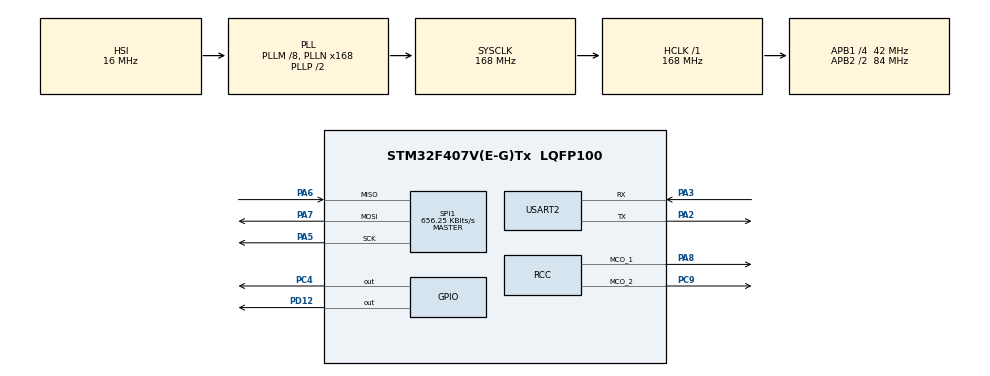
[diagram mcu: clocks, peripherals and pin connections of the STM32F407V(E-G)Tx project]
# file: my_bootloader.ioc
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FATFS._USE_LFN=1
Mcu.Family=STM32F4
Mcu.Name=STM32F407V(E-G)Tx
Mcu.Package=LQFP100
NVIC.PriorityGroup=NVIC_PRIORITYGROUP_0
NVIC.SPI1_IRQn=true\:0\:0\:false\:false\:true\:true\:true\:true
NVIC.USART2_IRQn=true\:0\:0\:false\:false\:true\:true\:true\:true
PA2.Mode=Asynchronous
PA2.Signal=USART2_TX
PA3.Mode=Asynchronous
PA3.Signal=USART2_RX
PA5.GPIO_PuPd=GPIO_PULLUP
PA5.Mode=Full_Duplex_Master
PA5.Signal=SPI1_SCK
PA6.GPIO_PuPd=GPIO_PULLUP
PA6.Mode=Full_Duplex_Master
PA6.Signal=SPI1_MISO
PA7.GPIO_PuPd=GPIO_PULLUP
PA7.Mode=Full_Duplex_Master
PA7.Signal=SPI1_MOSI
PA8.Mode=Clock-out-1
PA8.Signal=RCC_MCO_1
PC14-OSC32_IN.Mode=LSE-External-Oscillator
PC14-OSC32_IN.Signal=RCC_OSC32_IN
PC15-OSC32_OUT.Mode=LSE-External-Oscillator
PC15-OSC32_OUT.Signal=RCC_OSC32_OUT
PC4.GPIO_PuPd=GPIO_NOPULL
PC4.GPIO_Speed=GPIO_SPEED_FREQ_LOW
PC4.PinState=GPIO_PIN_RESET
PC4.Signal=GPIO_Output
PC9.Mode=Clock-out-2
PC9.Signal=RCC_MCO_2
PD12.Signal=GPIO_Output
PH0-OSC_IN.Mode=HSE-External-Oscillator
PH0-OSC_IN.Signal=RCC_OSC_IN
PH1-OSC_OUT.Mode=HSE-External-Oscillator
PH1-OSC_OUT.Signal=RCC_OSC_OUT
ProjectManager.HeapSize=0x200
ProjectManager.StackSize=0x400
ProjectManager.TargetToolchain=STM32CubeIDE
RCC.48MHZClocksFreq_Value=48000000
RCC.AHBFreq_Value=168000000
RCC.APB1CLKDivider=RCC_HCLK_DIV4
RCC.APB1Freq_Value=42000000
RCC.APB1TimFreq_Value=84000000
RCC.APB2CLKDivider=RCC_HCLK_DIV2
RCC.APB2Freq_Value=84000000
RCC.APB2TimFreq_Value=168000000
RCC.CortexFreq_Value=168000000
RCC.HCLKFreq_Value=168000000
RCC.HSE_VALUE=8000000
RCC.HSI_VALUE=16000000
RCC.PLLM=8
RCC.PLLN=168
RCC.PLLQ=7
RCC.SYSCLKFreq_VALUE=168000000
RCC.SYSCLKSource=RCC_SYSCLKSOURCE_PLLCLK
RCC.VCOOutputFreq_Value=336000000
SPI1.BaudRatePrescaler=SPI_BAUDRATEPRESCALER_128
SPI1.CLKPhase=SPI_PHASE_1EDGE
SPI1.CRCCalculation=SPI_CRCCALCULATION_DISABLE
SPI1.CalculateBaudRate=656.25 KBits/s
SPI1.Direction=SPI_DIRECTION_2LINES
SPI1.Mode=SPI_MODE_MASTER
SPI1.VirtualType=VM_MASTER
USART2.VirtualMode=VM_ASYNC
VP_FATFS_VS_Generic.Mode=User_defined
board=STM32F407G-DISC1

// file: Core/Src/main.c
/* USER CODE BEGIN Header */
/**
  ******************************************************************************
  * @file           : main.c
  * @brief          : Main program body
  ******************************************************************************
  * @attention
  *
  * Copyright (c) 2023 STMicroelectronics.
  * All rights reserved.
  *
  * This software is licensed under terms that can be found in the LICENSE file
  * in the root directory of this software component.
  * If no LICENSE file comes with this software, it is provided AS-IS.
  *
  ******************************************************************************
  */
/* USER CODE END Header */
#include "main.h"
#include "fatfs.h"

/* USER CODE BEGIN Includes */
#include <stdio.h>
#include <string.h>
#include "fw_update.h"
/* USER CODE END Includes */

/* USER CODE BEGIN PM */
#define MAJOR 0   // BL Major version Number
#define MINOR 1   // BL Minor version Number
/* USER CODE END PM */

SPI_HandleTypeDef hspi1;

UART_HandleTypeDef huart2;

/* USER CODE BEGIN PV */
const uint8_t BL_Version[2] = { MAJOR, MINOR };
/* USER CODE END PV */

void SystemClock_Config(void);
static void MX_GPIO_Init(void);
static void MX_SPI1_Init(void);
static void MX_USART2_UART_Init(void);
/* USER CODE BEGIN PFP */
static void goto_application( void );
FUNC_RET check_fw_update_SD();
/* USER CODE END PFP */

int main(void)
{

  /* MCU Configuration--------------------------------------------------------*/

  /* Reset of all peripherals, Initializes the Flash interface and the Systick. */
  HAL_Init();

  /* Configure the system clock */
  SystemClock_Config();

  /* Initialize all configured peripherals */
  MX_GPIO_Init();
  MX_FATFS_Init();
  MX_SPI1_Init();
  MX_USART2_UART_Init();
  /* USER CODE BEGIN 2 */
  FUNC_RET ret = check_fw_update_SD();
  if(ret!=OK){
	  printf("FW Update failed!\n");
  }
  else{
	  printf("FW Update Successful...\n");
	  goto_application();
  }
  /* USER CODE END 2 */

  /* Infinite loop */
  while (1)
  {

  }
}

void SystemClock_Config(void)
{
  RCC_OscInitTypeDef RCC_OscInitStruct = {0};
  RCC_ClkInitTypeDef RCC_ClkInitStruct = {0};

  /** Configure the main internal regulator output voltage
  */
  __HAL_RCC_PWR_CLK_ENABLE();
  __HAL_PWR_VOLTAGESCALING_CONFIG(PWR_REGULATOR_VOLTAGE_SCALE1);

  /** Initializes the RCC Oscillators according to the specified parameters
  * in the RCC_OscInitTypeDef structure.
  */
  RCC_OscInitStruct.OscillatorType = RCC_OSCILLATORTYPE_HSI;
  RCC_OscInitStruct.HSIState = RCC_HSI_ON;
  RCC_OscInitStruct.HSICalibrationValue = RCC_HSICALIBRATION_DEFAULT;
  RCC_OscInitStruct.PLL.PLLState = RCC_PLL_ON;
  RCC_OscInitStruct.PLL.PLLSource = RCC_PLLSOURCE_HSI;
  RCC_OscInitStruct.PLL.PLLM = 8;
  RCC_OscInitStruct.PLL.PLLN = 168;
  RCC_OscInitStruct.PLL.PLLP = RCC_PLLP_DIV2;
  RCC_OscInitStruct.PLL.PLLQ = 7;
  if (HAL_RCC_OscConfig(&RCC_OscInitStruct) != HAL_OK)
  {
    Error_Handler();
  }

  /** Initializes the CPU, AHB and APB buses clocks
  */
  RCC_ClkInitStruct.ClockType = RCC_CLOCKTYPE_HCLK|RCC_CLOCKTYPE_SYSCLK
                              |RCC_CLOCKTYPE_PCLK1|RCC_CLOCKTYPE_PCLK2;
  RCC_ClkInitStruct.SYSCLKSource = RCC_SYSCLKSOURCE_PLLCLK;
  RCC_ClkInitStruct.AHBCLKDivider = RCC_SYSCLK_DIV1;
  RCC_ClkInitStruct.APB1CLKDivider = RCC_HCLK_DIV4;
  RCC_ClkInitStruct.APB2CLKDivider = RCC_HCLK_DIV2;

  if (HAL_RCC_ClockConfig(&RCC_ClkInitStruct, FLASH_LATENCY_5) != HAL_OK)
  {
    Error_Handler();
  }
  HAL_RCC_MCOConfig(RCC_MCO1, RCC_MCO1SOURCE_HSI, RCC_MCODIV_1);
  HAL_RCC_MCOConfig(RCC_MCO2, RCC_MCO2SOURCE_SYSCLK, RCC_MCODIV_1);
}

static void MX_SPI1_Init(void)
{

  /* SPI1 parameter configuration*/
  hspi1.Instance = SPI1;
  hspi1.Init.Mode = SPI_MODE_MASTER;
  hspi1.Init.Direction = SPI_DIRECTION_2LINES;
  hspi1.Init.DataSize = SPI_DATASIZE_8BIT;
  hspi1.Init.CLKPolarity = SPI_POLARITY_LOW;
  hspi1.Init.CLKPhase = SPI_PHASE_1EDGE;
  hspi1.Init.NSS = SPI_NSS_SOFT;
  hspi1.Init.BaudRatePrescaler = SPI_BAUDRATEPRESCALER_128;
  hspi1.Init.FirstBit = SPI_FIRSTBIT_MSB;
  hspi1.Init.TIMode = SPI_TIMODE_DISABLE;
  hspi1.Init.CRCCalculation = SPI_CRCCALCULATION_DISABLE;
  hspi1.Init.CRCPolynomial = 10;
  if (HAL_SPI_Init(&hspi1) != HAL_OK)
  {
    Error_Handler();
  }

}

static void MX_USART2_UART_Init(void)
{

  huart2.Instance = USART2;
  huart2.Init.BaudRate = 115200;
  huart2.Init.WordLength = UART_WORDLENGTH_8B;
  huart2.Init.StopBits = UART_STOPBITS_1;
  huart2.Init.Parity = UART_PARITY_NONE;
  huart2.Init.Mode = UART_MODE_TX_RX;
  huart2.Init.HwFlowCtl = UART_HWCONTROL_NONE;
  huart2.Init.OverSampling = UART_OVERSAMPLING_16;
  if (HAL_UART_Init(&huart2) != HAL_OK)
  {
    Error_Handler();
  }

}

static void MX_GPIO_Init(void)
{
  GPIO_InitTypeDef GPIO_InitStruct = {0};

  /* GPIO Ports Clock Enable */
  __HAL_RCC_GPIOC_CLK_ENABLE();
  __HAL_RCC_GPIOH_CLK_ENABLE();
  __HAL_RCC_GPIOA_CLK_ENABLE();
  __HAL_RCC_GPIOD_CLK_ENABLE();

  /*Configure GPIO pin Output Level */
  HAL_GPIO_WritePin(GPIOC, GPIO_PIN_4, GPIO_PIN_RESET);

  /*Configure GPIO pin Output Level */
  HAL_GPIO_WritePin(GPIOD, GPIO_PIN_12, GPIO_PIN_RESET);

  /*Configure GPIO pin : PC4 */
  GPIO_InitStruct.Pin = GPIO_PIN_4;
  GPIO_InitStruct.Mode = GPIO_MODE_OUTPUT_PP;
  GPIO_InitStruct.Pull = GPIO_NOPULL;
  GPIO_InitStruct.Speed = GPIO_SPEED_FREQ_LOW;
  HAL_GPIO_Init(GPIOC, &GPIO_InitStruct);

  /*Configure GPIO pin : PD12 */
  GPIO_InitStruct.Pin = GPIO_PIN_12;
  GPIO_InitStruct.Mode = GPIO_MODE_OUTPUT_PP;
  GPIO_InitStruct.Pull = GPIO_NOPULL;
  GPIO_InitStruct.Speed = GPIO_SPEED_FREQ_LOW;
  HAL_GPIO_Init(GPIOD, &GPIO_InitStruct);

  /*Configure GPIO pin : PC9 */
  GPIO_InitStruct.Pin = GPIO_PIN_9;
  GPIO_InitStruct.Mode = GPIO_MODE_AF_PP;
  GPIO_InitStruct.Pull = GPIO_NOPULL;
  GPIO_InitStruct.Speed = GPIO_SPEED_FREQ_LOW;
  GPIO_InitStruct.Alternate = GPIO_AF0_MCO;
  HAL_GPIO_Init(GPIOC, &GPIO_InitStruct);

  /*Configure GPIO pin : PA8 */
  GPIO_InitStruct.Pin = GPIO_PIN_8;
  GPIO_InitStruct.Mode = GPIO_MODE_AF_PP;
  GPIO_InitStruct.Pull = GPIO_NOPULL;
  GPIO_InitStruct.Speed = GPIO_SPEED_FREQ_LOW;
  GPIO_InitStruct.Alternate = GPIO_AF0_MCO;
  HAL_GPIO_Init(GPIOA, &GPIO_InitStruct);

}

/* USER CODE BEGIN 4 */
/**
  * @brief Print the characters to UART (printf).
  * @retval int
  */
#ifdef __GNUC__
  /* With GCC, small printf (option LD Linker->Libraries->Small printf
     set to 'Yes') calls __io_putchar() */
int __io_putchar(int ch)
#else
int fputc(int ch, FILE *f)
#endif /* __GNUC__ */
{
  /* Place your implementation of fputc here */
  /* e.g. write a character to the UART3 and Loop until the end of transmission */
  HAL_UART_Transmit(&huart2, (uint8_t *)&ch, 1, HAL_MAX_DELAY);

  return ch;
}
/**
  * @brief Jump to application from the Bootloader
  * @retval None
  */
static void goto_application(void)
{
  printf("Gonna Jump to Application\r\n");

  void (*app_reset_handler)(void) = (void*)(*((volatile uint32_t*) (0x08040000 + 4U)));

  //__set_MSP(*(volatile uint32_t*) ETX_APP_FLASH_ADDR);

  // Turn OFF the Green Led to tell the user that Bootloader is not running
  HAL_GPIO_WritePin(GPIOD, GPIO_PIN_12, GPIO_PIN_RESET );    //Green LED OFF
  app_reset_handler();    //call the app reset handler
}
/* USER CODE END 4 */

void Error_Handler(void)
{
  __disable_irq();
  while (1)
  {
  }
}
